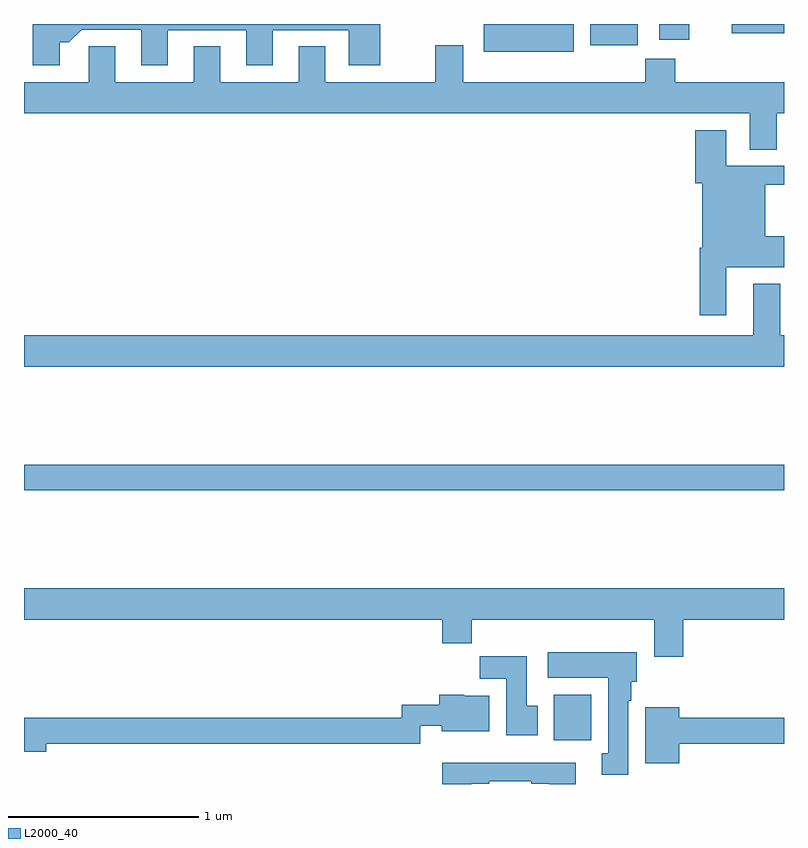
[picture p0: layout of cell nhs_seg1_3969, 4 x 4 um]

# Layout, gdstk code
import gdstk
lib = gdstk.Library(unit=1e-6, precision=1e-09)
def R(c, l, rs):  # rectangles x0, y0, x1, y1
    for r in rs: c.add(gdstk.rectangle(r[:2], r[2:], *l))
def P(c, l, *ps):  # polygons
    for p in ps: c.add(gdstk.Polygon(p, *l))
L2000_40 = (2000, 40)

nhs_seg1_3969 = lib.new_cell('nhs_seg1_3969')
R(nhs_seg1_3969, L2000_40, [(329.789,552.428,329.986,552.67), (327,553.744,331,553.88), (329.981,556.086,330.23,556.199), (330.344,556.116,330.502,556.199), (330.726,556.151,331,556.199)])
P(nhs_seg1_3969, L2000_40, [(327.187,556.103),(327.236,556.103),(327.303,556.17),(327.617,556.17),(327.617,555.981),(327.757,555.981),(327.757,556.167),(328.169,556.167),(328.169,555.981),(328.309,555.981),(328.309,556.167),(328.709,556.167),(328.709,555.981),(328.874,555.981),(328.874,556.199),(327.047,556.199),(327.047,555.981),(327.187,555.981)],
  [(329.893,556.198),(329.554,556.198),(329.554,556.199),(329.42,556.199),(329.42,556.052),(329.893,556.052)],
  [(330.961,555.728),(331,555.728),(331,555.892),(330.428,555.892),(330.428,556.016),(330.271,556.016),(330.271,555.892),(329.311,555.892),(329.311,556.087),(329.164,556.087),(329.164,555.892),(328.585,555.892),(328.585,556.082),(328.445,556.082),(328.445,555.892),(328.033,555.892),(328.033,556.082),(327.893,556.082),(327.893,555.892),(327.481,555.892),(327.481,556.082),(327.342,556.082),(327.342,555.892),(327,555.892),(327,555.728),(330.821,555.728),(330.821,555.538),(330.961,555.538)],
  [(330.697,554.918),(331,554.918),(331,555.082),(330.901,555.082),(330.901,555.352),(331,555.352),(331,555.453),(330.697,555.453),(330.697,555.64),(330.533,555.64),(330.533,555.36),(330.569,555.36),(330.569,555.022),(330.557,555.022),(330.557,554.667),(330.697,554.667)],
  [(331,554.56),(330.979,554.56),(330.979,554.833),(330.839,554.833),(330.839,554.56),(327,554.56),(327,554.396),(331,554.396)],
  [(330.47,553.064),(331,553.064),(331,553.228),(327,553.228),(327,553.064),(329.201,553.064),(329.201,552.94),(329.357,552.94),(329.357,553.064),(330.317,553.064),(330.317,552.87),(330.47,552.87)],
  [(330.181,552.638),(330.196,552.638),(330.196,552.738),(330.226,552.738),(330.226,552.892),(329.757,552.892),(329.757,552.758),(330.074,552.758),(330.074,552.362),(330.041,552.362),(330.041,552.249),(330.181,552.249)],
  [(329.704,552.612),(329.647,552.612),(329.647,552.871),(329.398,552.871),(329.398,552.752),(329.537,552.752),(329.537,552.456),(329.704,552.456)],
  [(327.118,552.412),(329.085,552.412),(329.085,552.506),(329.198,552.506),(329.198,552.476),(329.449,552.476),(329.449,552.664),(329.316,552.664),(329.316,552.67),(329.186,552.67),(329.186,552.616),(328.989,552.616),(328.989,552.548),(327,552.548),(327,552.37),(327.118,552.37)],
  [(330.448,552.412),(331,552.412),(331,552.548),(330.448,552.548),(330.448,552.604),(330.269,552.604),(330.269,552.308),(330.448,552.308)],
  [(329.353,552.201),(329.449,552.201),(329.449,552.213),(329.669,552.213),(329.669,552.201),(329.765,552.201),(329.765,552.199),(329.905,552.199),(329.905,552.31),(329.201,552.31),(329.201,552.199),(329.353,552.199)])

lib.write_gds('nhs_seg1_3969.gds')
